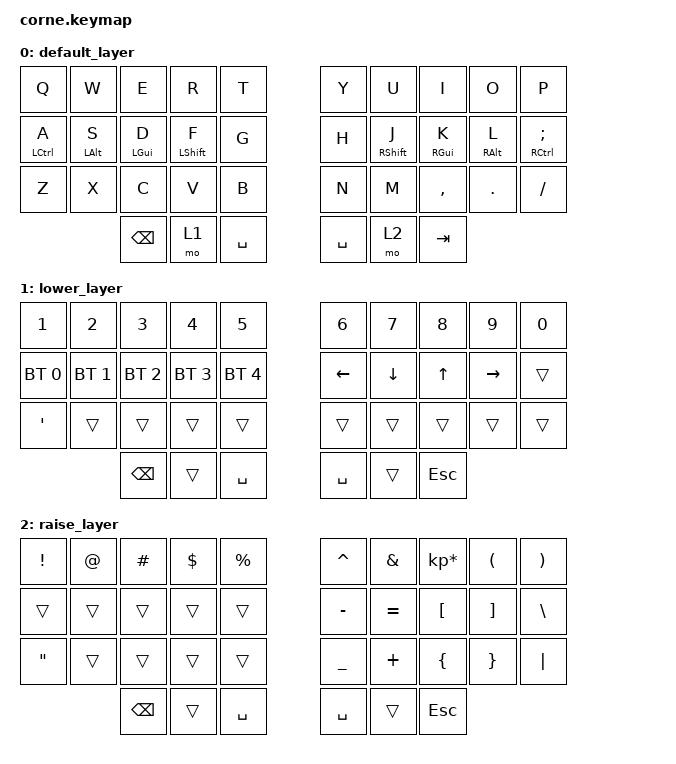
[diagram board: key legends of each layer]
/*
 * Copyright (c) 2020 The ZMK Contributors
 *
 * SPDX-License-Identifier: MIT
 */

#include <behaviors.dtsi>
#include <dt-bindings/zmk/keys.h>
#include <dt-bindings/zmk/bt.h>

/ {
        chosen { zmk,matrix_transform = &five_column_transform; };
        combos {
          compatible = "zmk,combos";
          combo_ent {
            timeout-ms = <150>;
            key-positions = <32 33>;
            bindings = <&kp RET>;
          };
          combo_esc {
            timeout-ms = <150>;
            key-positions = <14 15>;
            bindings = <&kp ESC>;
          };
          combo_grave {
            timeout-ms = <150>;
            key-positions = <0 9>;
            bindings = <&kp GRAVE>;
          };
        };
        behaviors {
            bhm: balanced_homerow_mods {
                compatible = "zmk,behavior-hold-tap";
                #binding-cells = <2>;
                tapping-term-ms = <400>;    // <---[[moderate duration]]
                quick-tap-ms = <0>;
                flavor = "balanced";
                bindings = <&kp>, <&kp>;
            };
        };
        keymap {
                compatible = "zmk,keymap";

                default_layer {
//       ____________________________________________________| ` |_______________________________________________
// -----/--------------------------------------------------------------------------------------------------------\------
// |   Q        |      W     |       E    |      R     |  T  |   |  Y  |     U      |     I     |     O     |     P     |
// |   A, CTRL  |    S, ALT  |    D, GUI  |  F, SHIFT  |  G  |ESC|  H  |  J, SHIFT  |  K, GUI   |  L, ALT   |  ;, CTRL  |
// |   Z        |      X     |       C    |      V     |  B  |   |  N  |     M      |     ,     |     .     |     /     |
//                           |    BSPC    |     LWR    | SPC |ENT| SPC |    RSE     |    TAB    |
                        bindings = <
   &kp Q        &kp W       &kp E       &kp R         &kp T      &kp Y   &kp U          &kp I       &kp O       &kp P    
   &bhm LCTRL A &bhm LALT S &bhm LGUI D &bhm LSHIFT F &kp G      &kp H   &bhm RSHIFT J  &bhm RGUI K &bhm RALT L &bhm RCTRL SEMI 
   &kp Z        &kp X       &kp C       &kp V         &kp B      &kp N   &kp M          &kp COMMA   &kp DOT     &kp FSLH 
                            &kp BSPC    &mo 1         &kp SPACE  &kp SPACE &mo 2          &kp TAB
                        >;
                };
                lower_layer {
//      _________________________| ` |_________________________
// ----/-------------------------------------------------------\----------------------------
// |  1  |  2  |  3  |  4  |  5  |   |  6  |  7  |  8  |  9  |  0  |
// | BT1 | BT2 | BT3 | BT4 | BT5 |ESC| LFT | DWN |  UP | RGT |     |
// |  '  |     |     |     |     |   |     |     |     |     |     |
//             | GUI |     | SPC |ENT| SPC |     | TAB |
                        bindings = <
   &kp N1       &kp N2       &kp N3       &kp N4       &kp N5         &kp N6   &kp N7   &kp N8 &kp N9    &kp N0
   &bt BT_SEL 0 &bt BT_SEL 1 &bt BT_SEL 2 &bt BT_SEL 3 &bt BT_SEL 4   &kp LEFT &kp DOWN &kp UP &kp RIGHT &trans
   &kp SQT      &trans       &trans       &trans       &trans         &trans   &trans   &trans &trans    &trans
                             &kp BSPC     &trans       &kp SPACE      &kp SPACE  &trans   &kp ESC
                        >;
                };

                raise_layer {
//      _________________________| ` |_________________________
// ----/-------------------------------------------------------\----------------------------
// |  !  |  @  |  #  |  $  |  %  |   |  ^  |  &  |  *  |  (  |  )  | 
// |     |     |     |     |     |ESC|  -  |  =  |  [  |  ]  |  \  |
// |  "  |     |     |     |     |   |  _  |  +  |  {  |  }  | "|" |
//             | GUI |     | SPC |ENT| SPC |     | TAB |
                        bindings = <
   &kp EXCL &kp AT &kp HASH &kp DLLR &kp PRCNT   &kp CARET &kp AMPS  &kp KP_MULTIPLY &kp LPAR &kp RPAR 
   &trans   &trans &trans   &trans   &trans      &kp MINUS &kp EQUAL &kp LBKT        &kp RBKT &kp BSLH 
   &kp DQT  &trans &trans   &trans   &trans      &kp UNDER &kp PLUS  &kp LBRC        &kp RBRC &kp PIPE 
                   &kp BSPC &trans   &kp SPACE   &kp SPACE   &trans    &kp ESC
                        >;
                };
        };
};
